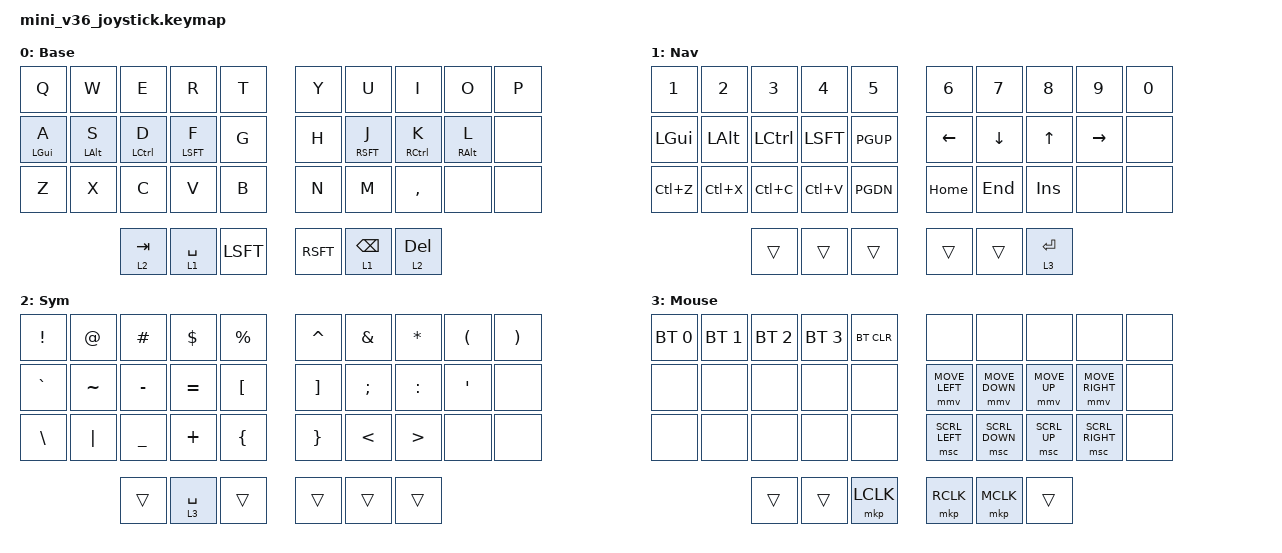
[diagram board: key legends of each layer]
/*
 * Copyright (c) 2024 Mini V36 Joystick contributors
 * SPDX-License-Identifier: MIT
 *
 * Mini V36 Joystick — 36-key unibody keyboard keymap
 *
 * Key positions (36 total):
 *  0  1  2  3  4    5  6  7  8  9
 * 10 11 12 13 14   15 16 17 18 19
 * 20 21 22 23 24   25 26 27 28 29
 *          30 31 32   33 34 35
 *
 * Positions 9, 19, 28, 29 (right side, joystick area) are physically
 * occupied by the joystick module — bound to &none below.
 *
 * Layers:
 *   0 = BASE  (QWERTY with home-row mods)
 *   1 = NAV   (navigation, numbers)
 *   2 = SYM   (symbols, function keys)
 *   3 = MOUSE (pointer / mouse buttons — active while held)
 */

#include <behaviors.dtsi>
#include <dt-bindings/zmk/bt.h>
#include <dt-bindings/zmk/keys.h>
#include <dt-bindings/zmk/pointing.h>

/* ── Home-row mod timings ──────────────────────────────────────────────── */
#define TAPPING_TERM 200
#define QUICK_TAP    150

/ {
    behaviors {
        hml: hml {
            compatible = "zmk,behavior-hold-tap";
            label = "HML";
            bindings = <&kp>, <&kp>;
            #binding-cells = <2>;
            flavor = "balanced";
            tapping-term-ms = <TAPPING_TERM>;
            quick-tap-ms = <QUICK_TAP>;
            require-prior-idle-ms = <125>;
            hold-trigger-key-positions = <
                5  6  7  8  9
               15 16 17 18 19
               25 26 27 28 29
               33 34 35
            >;
            hold-trigger-on-release;
        };

        hmr: hmr {
            compatible = "zmk,behavior-hold-tap";
            label = "HMR";
            bindings = <&kp>, <&kp>;
            #binding-cells = <2>;
            flavor = "balanced";
            tapping-term-ms = <TAPPING_TERM>;
            quick-tap-ms = <QUICK_TAP>;
            require-prior-idle-ms = <125>;
            hold-trigger-key-positions = <
                0  1  2  3  4
               10 11 12 13 14
               20 21 22 23 24
               30 31 32
            >;
            hold-trigger-on-release;
        };
    };

    combos {
        compatible = "zmk,combos";

        /* Backspace: left three middle keys */
        combo_bspc_left {
            bindings = <&kp BACKSPACE>;
            key-positions = <20 21 22>;
            timeout-ms = <50>;
        };

        /* Backspace: right three middle keys */
        combo_bspc_right {
            bindings = <&kp BACKSPACE>;
            key-positions = <25 26 27>;
            timeout-ms = <50>;
        };

        /* Escape: top two left inner keys */
        combo_esc {
            bindings = <&kp ESCAPE>;
            key-positions = <3 4>;
            timeout-ms = <50>;
        };

        /* Enter: top two right inner keys */
        combo_enter {
            bindings = <&kp ENTER>;
            key-positions = <5 6>;
            timeout-ms = <50>;
        };
    };

    keymap {
        compatible = "zmk,keymap";

        /* ── Layer 0: BASE ──────────────────────────────────────────── */
        base_layer {
            display-name = "Base";
            bindings = <
// ╭────────────────────────────────────────────────╮ ╭────────────────────────────────────────────────╮
     &kp Q          &kp W          &kp E          &kp R          &kp T            &kp Y          &kp U          &kp I          &kp O          &kp P
// ├────────────────────────────────────────────────┤ ├────────────────────────────────────────────────┤
     &hml LGUI A    &hml LALT S    &hml LCTL D    &hml LSFT F    &kp G            &kp H          &hmr RSFT J    &hmr RCTL K    &hmr RALT L    &none
// ├────────────────────────────────────────────────┤ ├────────────────────────────────────────────────┤
     &kp Z          &kp X          &kp C          &kp V          &kp B            &kp N          &kp M          &kp COMMA      &none          &none
// ╰────────────────────────────────────────────────┤ ├────────────────────────────────────────────────╯
                                   &lt 2 TAB      &lt 1 SPACE    &kp LSFT         &kp RSFT       &lt 1 BSPC     &lt 2 DEL
//                                 ╰───────────────────────────────────────────────────────────────────╯
            >;
        };

        /* ── Layer 1: NAV ───────────────────────────────────────────── */
        nav_layer {
            display-name = "Nav";
            bindings = <
// ╭────────────────────────────────────────────────╮ ╭────────────────────────────────────────────────╮
     &kp N1         &kp N2         &kp N3         &kp N4         &kp N5           &kp N6         &kp N7         &kp N8         &kp N9         &kp N0
// ├────────────────────────────────────────────────┤ ├────────────────────────────────────────────────┤
     &kp LGUI       &kp LALT       &kp LCTL       &kp LSFT       &kp PGUP         &kp LEFT       &kp DOWN       &kp UP         &kp RIGHT      &none
// ├────────────────────────────────────────────────┤ ├────────────────────────────────────────────────┤
     &kp LC(Z)      &kp LC(X)      &kp LC(C)      &kp LC(V)      &kp PGDN         &kp HOME       &kp END        &kp INS        &none          &none
// ╰────────────────────────────────────────────────┤ ├────────────────────────────────────────────────╯
                                   &trans         &trans         &trans           &trans         &trans         &lt 3 ENTER
//                                 ╰───────────────────────────────────────────────────────────────────╯
            >;
        };

        /* ── Layer 2: SYM ───────────────────────────────────────────── */
        sym_layer {
            display-name = "Sym";
            bindings = <
// ╭────────────────────────────────────────────────╮ ╭────────────────────────────────────────────────╮
     &kp EXCL       &kp AT         &kp HASH       &kp DLLR       &kp PRCNT        &kp CARET      &kp AMPS       &kp ASTRK      &kp LPAR       &kp RPAR
// ├────────────────────────────────────────────────┤ ├────────────────────────────────────────────────┤
     &kp GRAVE      &kp TILDE      &kp MINUS      &kp EQUAL      &kp LBKT         &kp RBKT       &kp SEMI       &kp COLON      &kp SQT        &none
// ├────────────────────────────────────────────────┤ ├────────────────────────────────────────────────┤
     &kp BSLH       &kp PIPE       &kp UNDER      &kp PLUS       &kp LBRC         &kp RBRC       &kp LT         &kp GT         &none          &none
// ╰────────────────────────────────────────────────┤ ├────────────────────────────────────────────────╯
                                   &trans         &lt 3 SPACE    &trans           &trans         &trans         &trans
//                                 ╰───────────────────────────────────────────────────────────────────╯
            >;
        };

        /* ── Layer 3: MOUSE / BT ────────────────────────────────────── */
        mouse_layer {
            display-name = "Mouse";
            bindings = <
// ╭────────────────────────────────────────────────╮ ╭────────────────────────────────────────────────╮
     &bt BT_SEL 0   &bt BT_SEL 1   &bt BT_SEL 2   &bt BT_SEL 3   &bt BT_CLR       &none          &none          &none          &none          &none
// ├────────────────────────────────────────────────┤ ├────────────────────────────────────────────────┤
     &none          &none          &none          &none          &none            &mmv MOVE_LEFT &mmv MOVE_DOWN &mmv MOVE_UP   &mmv MOVE_RIGHT &none
// ├────────────────────────────────────────────────┤ ├────────────────────────────────────────────────┤
     &none          &none          &none          &none          &none            &msc SCRL_LEFT &msc SCRL_DOWN &msc SCRL_UP   &msc SCRL_RIGHT &none
// ╰────────────────────────────────────────────────┤ ├────────────────────────────────────────────────╯
                                   &trans         &trans         &mkp LCLK        &mkp RCLK      &mkp MCLK      &trans
//                                 ╰───────────────────────────────────────────────────────────────────╯
            >;
        };
    };
};
